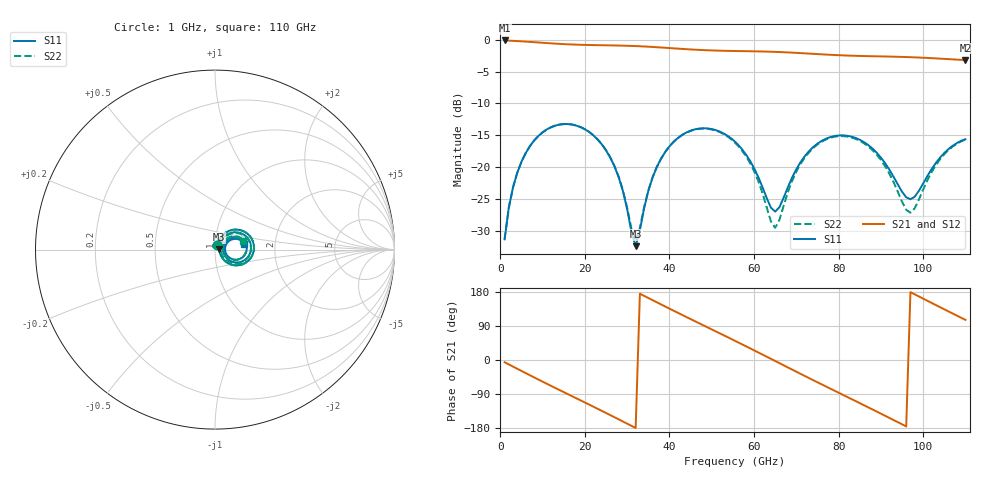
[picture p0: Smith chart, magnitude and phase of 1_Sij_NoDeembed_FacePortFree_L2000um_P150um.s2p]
! Touchstone file exported from HFSS 2024.2.0
!  File:  C:/Users/vaintrug/Documents/Ansoft_Workspace/Comparaison_Calculs_HFSS/1_VarPort.aedt
!  Generated:  03:22:18 PM Jan 21, 2025
!  Design:  1_NoDeembed_FacePortFree
!  Project:  1_VarPort
!  Setup:  Setup1
!  Solution:  Sweep
! Variables:
!  $Lenght = 2000um
!  $PortSize = 150um
!  Gap = 30um
!  Th = 2um
!  X_centralStrip = 20um
!  X_masse = 200um
!  Y_Sub = 2mm
!  Z_Box = 400um
!  Z_Sub = 200um
# GHz S MA R 50.000000
! Terminal data exported
! Port[1] = 1
! Port[2] = 2
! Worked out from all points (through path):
!   110 points, 1 GHz to 110 GHz, reference 50 ohm
!   highest |S21| = -0.13 dB at 1 GHz (marker M1); lowest = -3.2 dB at 110 GHz (marker M2)
!   group delay of S21, straight-line fit = 15.5 ps
!   lowest |S11| = -32.4 dB at 32 GHz (marker M3), VSWR 1.05, Z = 52.4 + j0.202 ohm
!   |S11| at or under -10 dB: start of sweep to end of sweep
!   |S22| runs from -31.6 to -13.2 dB; largest |S21 - S12| = 2e-15
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1  0.02712 60.8  0.9854 -5.9  0.9854 -5.9  0.02712 60.8
! Gamma 5.97823676969807 50.2597950101377 6.03118962802216 50.4378410243808
! Port Impedance 50 0 50 0
3  0.0696 65.7  0.9784 -17.4  0.9784 -17.4  0.06961 65.6
7  0.1463 48.8  0.9605 -40.3  0.9605 -40.3  0.1463 48.7
13  0.2117 18.0  0.9307 -73.8  0.9307 -73.8  0.2118 17.9
20  0.1981 -17.2  0.9094 -112.2  0.9094 -112.2  0.1982 -17.2
27  0.1013 -47.1  0.9003 -151.1  0.9003 -151.1  0.1018 -46.7
32  0.02398 4.6  0.8901 -179.4  0.8901 -179.4  0.02617 3.1
35  0.06515 55.3  0.8802 163.6  0.8802 163.6  0.06569 52.3
38  0.1164 49.4  0.8679 146.7  0.8679 146.7  0.1164 47.1
43  0.1791 28.6  0.8459 118.9  0.8459 118.9  0.1784 26.3
47  0.2007 10.5  0.8311 97.0  0.8311 97.0  0.1995 8.0
51  0.195 -7.4  0.821 75.3  0.821 75.3  0.1932 -10.4
56  0.1526 -27.5  0.814 47.8  0.814 47.8  0.1497 -31.8
60  0.09836 -37.2  0.81 25.6  0.81 25.6  0.09342 -43.8
65  0.04479 1.4  0.8017 -2.6  0.8017 -2.6  0.03342 1.8
70  0.09617 38.3  0.7876 -30.8  0.7876 -30.8  0.09212 43.4
74  0.1437 28.9  0.7738 -53.2  0.7738 -53.2  0.1412 31.4
83  0.1736 -5.6  0.7485 -102.8  0.7485 -102.8  0.1711 -5.9
92  0.09566 -29.4  0.7364 -152.7  0.7364 -152.7  0.08904 -33.3
97  0.05599 2.0  0.7283 179.0  0.7283 179.0  0.04388 5.2
104  0.1186 29.8  0.7097 139.4  0.7097 139.4  0.1151 36.9
110  0.1656 11.8  0.6914 106.0  0.6914 106.0  0.1646 16.9
